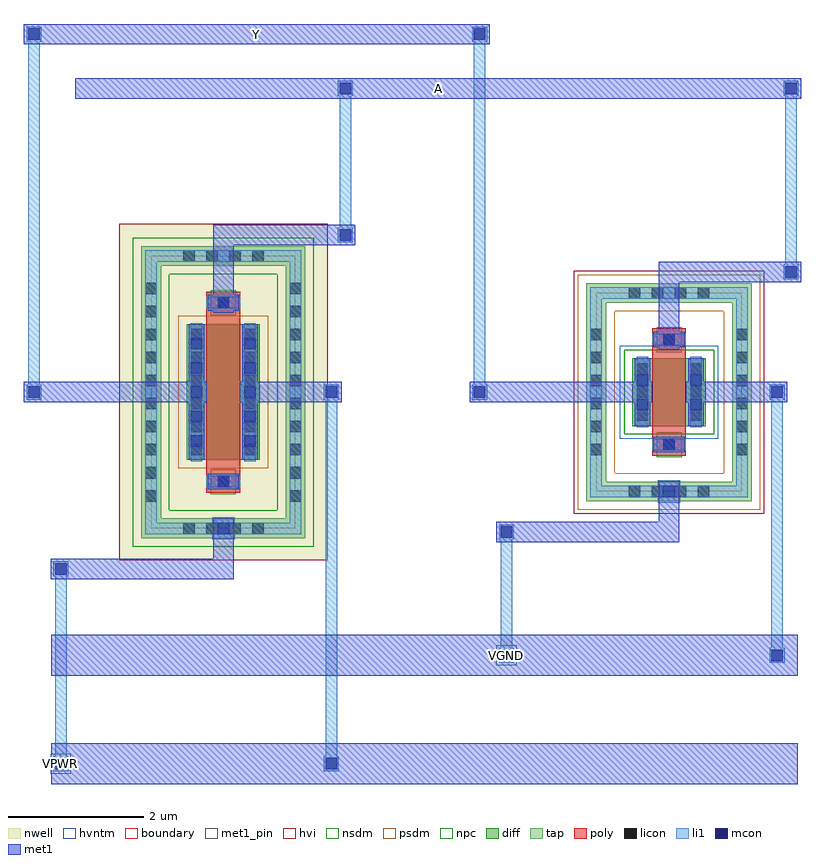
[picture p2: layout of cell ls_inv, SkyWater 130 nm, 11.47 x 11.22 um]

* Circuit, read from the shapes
.subckt ls_inv A VGND VPWR Y
XM1 VGND A Y VGND sky130_fd_pr__nfet_g5v0d10v5 w=1 l=0.5
XM2 VPWR A Y VPWR sky130_fd_pr__pfet_g5v0d10v5 w=2 l=0.5
.ends

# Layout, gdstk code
import gdstk
lib = gdstk.Library(unit=1e-6, precision=1e-09)
def R(c, l, rs):  # rectangles x0, y0, x1, y1
    for r in rs: c.add(gdstk.rectangle(r[:2], r[2:], *l))
def A(c, l, x, y, w, h, nx, ny, dx, dy):  # array of equal rectangles
    R(c, l, [(x+i*dx, y+j*dy, x+i*dx+w, y+j*dy+h) for i in range(nx) for j in range(ny)])
nwell = (64, 20)
diff = (65, 20)
tap = (65, 44)
poly = (66, 20)
licon = (66, 44)
li1 = (67, 20)
mcon = (67, 44)
met1_pin = (68, 16)
met1 = (68, 20)
hvi = (75, 20)
nsdm = (93, 44)
psdm = (94, 20)
npc = (95, 20)
hvntm = (125, 20)
boundary = (235, 4)

ls_inv_xmn = lib.new_cell('ls_inv_XMN')
R(ls_inv_xmn, diff, [(-0.54,-0.5,0.54,0.5)])
R(ls_inv_xmn, tap, [(-1.22,-1.61,1.22,-1.32), (-1.22,-1.32,-0.93,1.32), (0.93,-1.32,1.22,1.32), (-1.22,1.32,1.22,1.61)])
R(ls_inv_xmn, poly, [(-0.25,-0.94,0.25,0.94)])
A(ls_inv_xmn, licon, -0.595, -1.55, 0.17, 0.17, 4, 2, 0.34, 2.93)
A(ls_inv_xmn, licon, -1.16, -0.935, 0.17, 0.17, 1, 6, 0, 0.34)
A(ls_inv_xmn, licon, 0.99, -0.935, 0.17, 0.17, 1, 6, 0, 0.34)
A(ls_inv_xmn, licon, -0.48, -0.425, 0.17, 0.17, 1, 3, 0, 0.34)
A(ls_inv_xmn, licon, 0.31, -0.425, 0.17, 0.17, 1, 3, 0, 0.34)
R(ls_inv_xmn, licon, [(-0.085,-0.86,0.085,-0.69), (-0.085,0.69,0.085,0.86)])
R(ls_inv_xmn, li1, [(-0.165,-1.63,0.165,-1.55), (-1.16,-1.55,1.16,-1.38), (-1.16,-1.38,-0.99,1.38), (-0.165,-1.38,0.165,-1.3), (0.99,-1.38,1.16,1.38), (-0.25,-0.86,0.25,-0.69), (-0.48,-0.52,-0.31,0.52), (0.31,-0.52,0.48,0.52), (-0.25,0.69,0.25,0.86), (-1.16,1.38,1.16,1.55)])
R(ls_inv_xmn, mcon, [(-0.085,-1.55,0.085,-1.38), (-0.085,-0.86,0.085,-0.69), (-0.48,-0.265,-0.31,-0.095), (0.31,-0.265,0.48,-0.095), (-0.48,0.095,-0.31,0.265), (0.31,0.095,0.48,0.265), (-0.085,0.69,0.085,0.86)])
R(ls_inv_xmn, met1, [(-0.15,-1.615,0.15,-1.315), (-0.23,-0.89,0.23,-0.66), (-0.51,-0.5,-0.28,0.5), (0.28,-0.5,0.51,0.5), (-0.23,0.66,0.23,0.89)])
R(ls_inv_xmn, hvi, [(-1.405,-1.795,1.405,1.795)])
R(ls_inv_xmn, nsdm, [(-0.665,-0.625,0.665,0.625)])
R(ls_inv_xmn, psdm, [(-1.345,-1.735,1.345,-1.195), (-1.345,-1.195,-0.805,1.195), (0.805,-1.195,1.345,1.195), (-1.345,1.195,1.345,1.735)])
R(ls_inv_xmn, npc, [(-0.185,-0.96,0.185,-0.59), (-0.185,0.59,0.185,0.96)])
R(ls_inv_xmn, hvntm, [(-0.725,-0.685,0.725,0.685)])
R(ls_inv_xmn, boundary, [(-1.075,-1.465,1.075,1.465)])
ls_inv_xmn.add(gdstk.Label('B', (0,-1.465), layer=67, texttype=5))
ls_inv_xmn.add(gdstk.Label('D', (-0.395,0), layer=67, texttype=5))
ls_inv_xmn.add(gdstk.Label('S', (0.395,0), layer=67, texttype=5))
ls_inv_xmn.add(gdstk.Label('G', (0,0.775), layer=67, texttype=5))

ls_inv_xmp = lib.new_cell('ls_inv_XMP')
R(ls_inv_xmp, nwell, [(-1.54,-2.485,1.54,2.485)])
R(ls_inv_xmp, diff, [(-0.54,-1,0.54,1)])
R(ls_inv_xmp, tap, [(-1.21,-2.155,1.21,-1.865), (-1.21,-1.865,-0.92,1.865), (0.92,-1.865,1.21,1.865), (-1.21,1.865,1.21,2.155)])
R(ls_inv_xmp, poly, [(-0.25,-1.485,0.25,1.485)])
A(ls_inv_xmp, licon, -0.595, -2.095, 0.17, 0.17, 4, 2, 0.34, 4.02)
A(ls_inv_xmp, licon, -1.15, -1.615, 0.17, 0.17, 1, 10, 0, 0.34)
A(ls_inv_xmp, licon, 0.98, -1.615, 0.17, 0.17, 1, 10, 0, 0.34)
A(ls_inv_xmp, licon, -0.48, -0.935, 0.17, 0.17, 1, 6, 0, 0.34)
A(ls_inv_xmp, licon, 0.31, -0.935, 0.17, 0.17, 1, 6, 0, 0.34)
R(ls_inv_xmp, licon, [(-0.085,-1.405,0.085,-1.235), (-0.085,1.235,0.085,1.405)])
R(ls_inv_xmp, li1, [(-0.165,-2.175,0.165,-2.095), (-1.15,-2.095,1.15,-1.925), (-1.15,-1.925,-0.98,1.925), (-0.165,-1.925,0.165,-1.845), (0.98,-1.925,1.15,1.925), (-0.25,-1.405,0.25,-1.235), (-0.48,-1.02,-0.31,1.02), (0.31,-1.02,0.48,1.02), (-0.25,1.235,0.25,1.405), (-1.15,1.925,1.15,2.095)])
A(ls_inv_xmp, mcon, -0.48, -0.805, 0.17, 0.17, 1, 5, 0, 0.36)
A(ls_inv_xmp, mcon, 0.31, -0.805, 0.17, 0.17, 1, 5, 0, 0.36)
R(ls_inv_xmp, mcon, [(-0.085,-2.095,0.085,-1.925), (-0.085,-1.405,0.085,-1.235), (-0.085,1.235,0.085,1.405)])
R(ls_inv_xmp, met1, [(-0.15,-2.16,0.15,-1.86), (-0.23,-1.435,0.23,-1.205), (-0.51,-1,-0.28,1), (0.28,-1,0.51,1), (-0.23,1.205,0.23,1.435)])
R(ls_inv_xmp, hvi, [(-1.54,-2.485,1.54,2.485)])
R(ls_inv_xmp, nsdm, [(-1.335,-2.28,1.335,-1.74), (-1.335,-1.74,-0.795,1.74), (0.795,-1.74,1.335,1.74), (-1.335,1.74,1.335,2.28)])
R(ls_inv_xmp, psdm, [(-0.665,-1.125,0.665,1.125)])
R(ls_inv_xmp, npc, [(-0.185,-1.505,0.185,-1.135), (-0.185,1.135,0.185,1.505)])
R(ls_inv_xmp, boundary, [(-1.065,-2.01,1.065,2.01)])
ls_inv_xmp.add(gdstk.Label('B', (0,-2.01), layer=67, texttype=5))
ls_inv_xmp.add(gdstk.Label('D', (-0.395,0), layer=67, texttype=5))
ls_inv_xmp.add(gdstk.Label('S', (0.395,0), layer=67, texttype=5))
ls_inv_xmp.add(gdstk.Label('G', (0,1.32), layer=67, texttype=5))

ls_inv = lib.new_cell('ls_inv')
R(ls_inv, li1, [(0.53,0.89,0.75,1.11), (4.525,0.89,4.745,1.11), (0.555,1.11,0.725,3.765), (4.55,1.11,4.72,6.375), (7.11,2.49,7.33,2.71), (11.105,2.49,11.325,2.71), (7.135,2.71,7.305,4.31), (11.13,2.71,11.3,6.375), (0.53,3.765,0.75,3.985), (7.11,4.31,7.33,4.53), (0.135,6.375,0.355,6.595), (4.525,6.375,4.745,6.595), (6.715,6.375,6.935,6.595), (11.105,6.375,11.325,6.595), (0.16,6.595,0.33,11.66), (6.74,6.595,6.91,11.66), (11.31,8.15,11.53,8.37), (11.335,8.37,11.505,10.86), (4.73,8.695,4.95,8.915), (4.755,8.915,4.925,10.86), (4.73,10.86,4.95,11.08), (11.31,10.86,11.53,11.08), (0.135,11.66,0.355,11.88), (6.715,11.66,6.935,11.88)])
R(ls_inv, mcon, [(0.555,0.915,0.725,1.085), (4.55,0.915,4.72,1.085), (7.135,2.515,7.305,2.685), (11.13,2.515,11.3,2.685), (0.555,3.79,0.725,3.96), (7.135,4.335,7.305,4.505), (0.16,6.4,0.33,6.57), (4.55,6.4,4.72,6.57), (6.74,6.4,6.91,6.57), (11.13,6.4,11.3,6.57), (11.335,8.175,11.505,8.345), (4.755,8.72,4.925,8.89), (4.755,10.885,4.925,11.055), (11.335,10.885,11.505,11.055), (0.16,11.685,0.33,11.855), (6.74,11.685,6.91,11.855)])
R(ls_inv, met1_pin, [(0.49,0.85,0.79,1.15), (7.07,2.45,7.37,2.75), (0.85,10.82,11.57,11.12), (0.095,11.62,6.975,11.92)])
R(ls_inv, met1, [(0.5,0.7,11.52,0.85), (0.49,0.85,11.52,1.15), (0.5,1.15,11.52,1.3), (0.5,2.3,11.52,2.9), (0.49,3.725,3.19,4.025), (2.89,4.025,3.19,4.625), (7.07,4.27,9.77,4.57), (9.47,4.57,9.77,5.17), (0.095,6.335,2.795,6.635), (3.285,6.335,4.785,6.635), (6.675,6.335,9.375,6.635), (9.865,6.335,11.365,6.635), (9.47,7.11,9.77,8.11), (2.89,7.655,3.19,8.655), (9.47,8.11,11.57,8.41), (2.89,8.655,4.99,8.955), (0.85,10.82,11.57,11.12), (0.095,11.62,6.975,11.92)])
ls_inv.add(gdstk.Reference(ls_inv_xmn, (9.62,6.485)))
ls_inv.add(gdstk.Reference(ls_inv_xmp, (3.04,6.485)))
ls_inv.add(gdstk.Label('VPWR', (0.64,1), layer=68, texttype=5))
ls_inv.add(gdstk.Label('VGND', (7.22,2.6), layer=68, texttype=5))
ls_inv.add(gdstk.Label('A', (6.21,10.97), layer=68, texttype=5))
ls_inv.add(gdstk.Label('Y', (3.535,11.77), layer=68, texttype=5))

lib.write_gds('ls_inv.gds')
